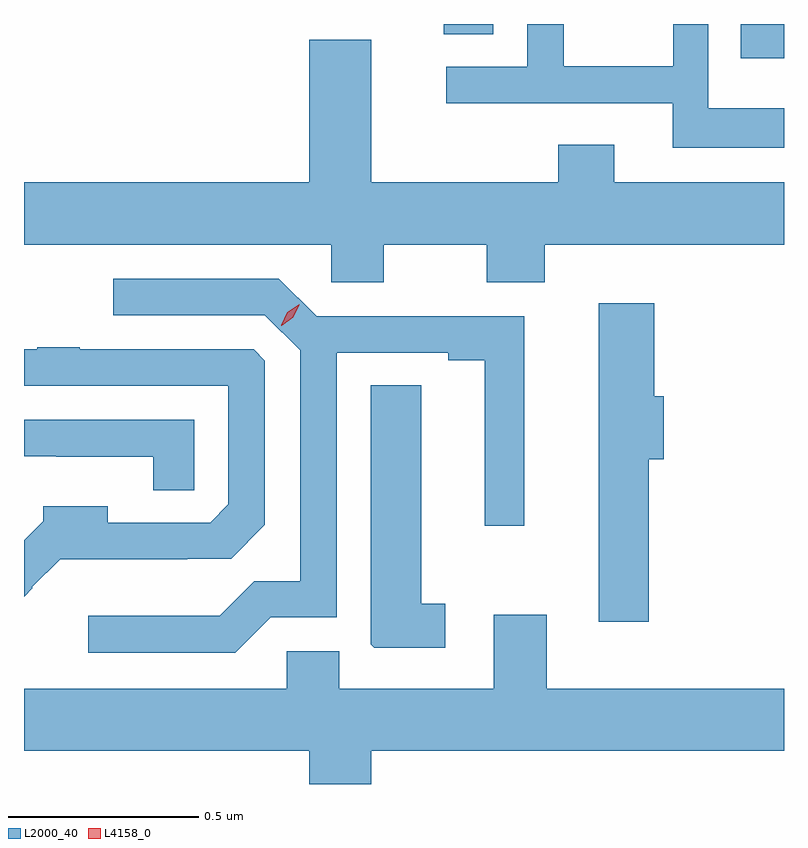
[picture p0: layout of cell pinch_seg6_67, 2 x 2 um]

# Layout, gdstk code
import gdstk
lib = gdstk.Library(unit=1e-6, precision=1e-09)
def R(c, l, rs):  # rectangles x0, y0, x1, y1
    for r in rs: c.add(gdstk.rectangle(r[:2], r[2:], *l))
def P(c, l, *ps):  # polygons
    for p in ps: c.add(gdstk.Polygon(p, *l))
L2000_40 = (2000, 40)
L4158_0 = (4158, 0)

pinch_seg6_67 = lib.new_cell('pinch_seg6_67')
R(pinch_seg6_67, L2000_40, [(933.376,938.503,933.49,938.593), (932.594,938.566,932.725,938.593)])
P(pinch_seg6_67, L2000_40, [(933.49,938.371),(933.291,938.371),(933.291,938.593),(933.198,938.593),(933.198,938.482),(932.91,938.482),(932.91,938.593),(932.814,938.593),(932.814,938.481),(932.601,938.481),(932.601,938.385),(933.197,938.385),(933.197,938.267),(933.49,938.267)],
  [(932.861,938.012),(933.49,938.012),(933.49,938.176),(933.043,938.176),(933.043,938.275),(932.896,938.275),(932.896,938.176),(932.404,938.176),(932.404,938.551),(932.24,938.551),(932.24,938.176),(931.49,938.176),(931.49,938.012),(932.298,938.012),(932.298,937.914),(932.437,937.914),(932.437,938.012),(932.708,938.012),(932.708,937.913),(932.861,937.913)],
  [(932.139,937.032),(932.313,937.032),(932.313,937.728),(932.606,937.728),(932.606,937.708),(932.702,937.708),(932.702,937.272),(932.806,937.272),(932.806,937.824),(932.26,937.824),(932.161,937.923),(931.725,937.923),(931.725,937.827),(932.124,937.827),(932.217,937.734),(932.217,937.127),(932.096,937.127),(932.005,937.036),(931.659,937.036),(931.659,936.939),(932.046,936.939)],
  [(933.134,937.448),(933.173,937.448),(933.173,937.614),(933.149,937.614),(933.149,937.858),(933.002,937.858),(933.002,937.02),(933.134,937.02)],
  [(931.513,937.109),(931.511,937.111),(931.585,937.185),(931.687,937.185),(931.687,937.184),(931.919,937.184),(931.919,937.186),(932.035,937.186),(932.124,937.275),(932.124,937.707),(932.094,937.737),(931.637,937.737),(931.637,937.742),(931.525,937.742),(931.525,937.737),(931.49,937.737),(931.49,937.641),(932.028,937.641),(932.028,937.329),(931.98,937.281),(931.711,937.281),(931.711,937.324),(931.54,937.324),(931.54,937.285),(931.49,937.235),(931.49,937.086)],
  [(932.599,937.067),(932.536,937.067),(932.536,937.643),(932.402,937.643),(932.402,936.961),(932.412,936.951),(932.599,936.951)],
  [(931.938,937.551),(931.49,937.551),(931.49,937.455),(931.575,937.455),(931.575,937.454),(931.83,937.454),(931.83,937.366),(931.938,937.366)],
  [(932.404,936.68),(933.49,936.68),(933.49,936.844),(932.866,936.844),(932.866,937.039),(932.726,937.039),(932.726,936.844),(932.32,936.844),(932.32,936.942),(932.181,936.942),(932.181,936.844),(931.49,936.844),(931.49,936.68),(932.24,936.68),(932.24,936.593),(932.404,936.593)])
P(pinch_seg6_67, L4158_0, [(932.167,937.799),(932.167,937.8),(932.183,937.834),(932.214,937.855),(932.214,937.855),(932.214,937.854),(932.198,937.821),(932.168,937.799)])

lib.write_gds('pinch_seg6_67.gds')
